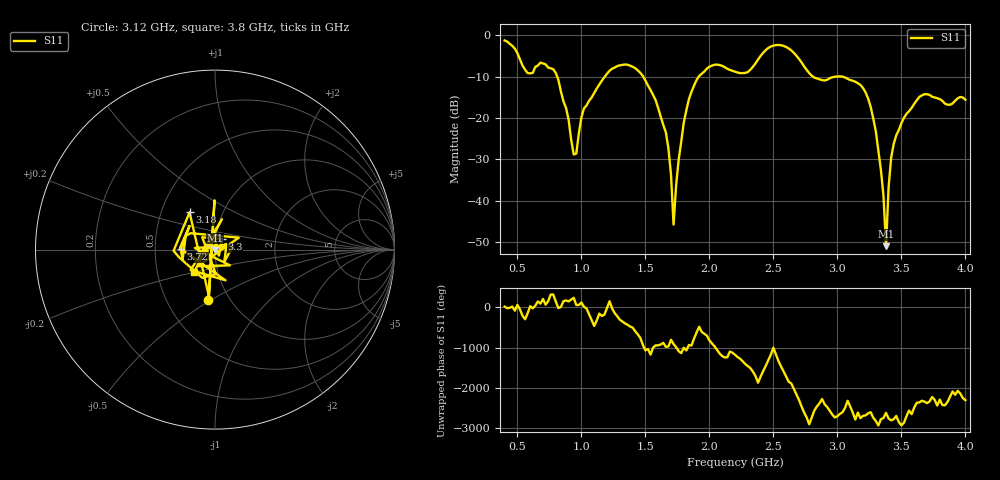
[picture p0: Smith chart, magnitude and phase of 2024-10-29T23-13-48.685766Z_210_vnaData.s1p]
!Created with skrf (http://scikit-rf.org).
# Hz S RI R 50.0
!freq ReS11 ImS11
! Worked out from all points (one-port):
!   181 points, 400 MHz to 4 GHz, reference 50 ohm
!   lowest |S11| = -51.0 dB at 3.38 GHz (marker M1), VSWR 1.01, Z = 49.9 - j0.273 ohm
!   |S11| at or under -10 dB: 810.8 MHz to 1.183 GHz (371.7 MHz wide, 37.3 % of centre); 1.483 GHz to 1.917 GHz (433.3 MHz wide, 25.5 % of centre); 3.041 GHz to end of sweep (the widest 3 of 4)
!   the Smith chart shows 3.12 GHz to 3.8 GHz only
!   S11 on the Smith chart (normalised r, x): 3.12 GHz: 0.80, -0.49; 3.18 GHz: 0.70, +0.31; 3.3 GHz: 1.07, +0.12; 3.72 GHz: 0.68, +0.01; 3.8 GHz: 0.77, -0.20
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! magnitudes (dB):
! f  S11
! 400 MHz  -1.2
! 580 MHz  -9.1
! 780 MHz  -8.2
! 860 MHz  -16.0
! 960 MHz  -28.6
! 1.02 GHz  -17.7
! 1.3 GHz  -7.3
! 1.58 GHz  -15.7
! 1.68 GHz  -27.4
! 1.72 GHz  -45.7
! 1.76 GHz  -30.0
! 1.84 GHz  -15.4
! 1.92 GHz  -9.8
! 2.2 GHz  -8.8
! 2.66 GHz  -4.2
! 2.82 GHz  -10.2
! 3.1 GHz  -10.8
! 3.12 GHz  -11.0
! 3.18 GHz  -12.0
! 3.3 GHz  -23.2
! 3.36 GHz  -38.7
! 3.38 GHz  -51.0
! 3.4 GHz  -36.7
! 3.42 GHz  -29.6
! 3.56 GHz  -18.3
! 3.72 GHz  -14.4
! 3.8 GHz  -15.4
! 4 GHz  -15.6
